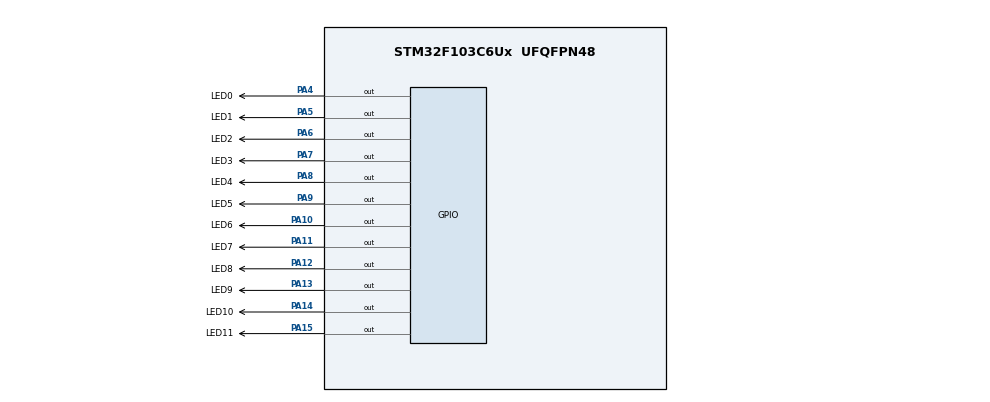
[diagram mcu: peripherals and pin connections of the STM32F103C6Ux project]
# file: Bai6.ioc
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Mcu.Family=STM32F1
Mcu.Name=STM32F103C6Ux
Mcu.Package=UFQFPN48
NVIC.PriorityGroup=NVIC_PRIORITYGROUP_4
PA10.GPIO_Label=LED6
PA10.Signal=GPIO_Output
PA11.GPIO_Label=LED7
PA11.Signal=GPIO_Output
PA12.GPIO_Label=LED8
PA12.Signal=GPIO_Output
PA13.GPIO_Label=LED9
PA13.Signal=GPIO_Output
PA14.GPIO_Label=LED10
PA14.Signal=GPIO_Output
PA15.GPIO_Label=LED11
PA15.Signal=GPIO_Output
PA4.GPIO_Label=LED0
PA4.Signal=GPIO_Output
PA5.GPIO_Label=LED1
PA5.Signal=GPIO_Output
PA6.GPIO_Label=LED2
PA6.Signal=GPIO_Output
PA7.GPIO_Label=LED3
PA7.Signal=GPIO_Output
PA8.GPIO_Label=LED4
PA8.Signal=GPIO_Output
PA9.GPIO_Label=LED5
PA9.Signal=GPIO_Output
ProjectManager.HeapSize=0x200
ProjectManager.StackSize=0x400
ProjectManager.TargetToolchain=STM32CubeIDE
RCC.APB1Freq_Value=8000000
RCC.APB2Freq_Value=8000000
VP_SYS_VS_ND.Mode=No_Debug
board=custom

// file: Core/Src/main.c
/* USER CODE BEGIN Header */
/**
 ******************************************************************************
 * @file           : main.c
 * @brief          : Main program body
 ******************************************************************************
 * @attention
 *
 * <h2><center>&copy; Copyright (c) 2022 STMicroelectronics.
 * All rights reserved.</center></h2>
 *
 * This software component is licensed by ST under BSD 3-Clause license,
 * the "License"; You may not use this file except in compliance with the
 * License. You may obtain a copy of the License at:
 *                        opensource.org/licenses/BSD-3-Clause
 *
 ******************************************************************************
 */
/* USER CODE END Header */
#include "main.h"

void SystemClock_Config(void);
static void MX_GPIO_Init(void);

int main(void) {

	/* MCU Configuration--------------------------------------------------------*/

	/* Reset of all peripherals, Initializes the Flash interface and the Systick. */
	HAL_Init();

	/* Configure the system clock */
	SystemClock_Config();

	/* Initialize all configured peripherals */
	MX_GPIO_Init();

	/* Infinite loop */
	/* USER CODE BEGIN WHILE */

	//Clock displays sequentially from 0 to 11
	int timeCounter = 0;
	while (1) {
		if (timeCounter == 0) {
			HAL_GPIO_WritePin(LED0_GPIO_Port, LED0_Pin, SET);
			HAL_GPIO_WritePin(LED1_GPIO_Port, LED1_Pin, RESET);
			HAL_GPIO_WritePin(LED2_GPIO_Port, LED2_Pin, RESET);
			HAL_GPIO_WritePin(LED3_GPIO_Port, LED3_Pin, RESET);
			HAL_GPIO_WritePin(LED4_GPIO_Port, LED4_Pin, RESET);
			HAL_GPIO_WritePin(LED5_GPIO_Port, LED5_Pin, RESET);
			HAL_GPIO_WritePin(LED6_GPIO_Port, LED6_Pin, RESET);
			HAL_GPIO_WritePin(LED7_GPIO_Port, LED7_Pin, RESET);
			HAL_GPIO_WritePin(LED8_GPIO_Port, LED8_Pin, RESET);
			HAL_GPIO_WritePin(LED9_GPIO_Port, LED9_Pin, RESET);
			HAL_GPIO_WritePin(LED10_GPIO_Port, LED10_Pin, RESET);
			HAL_GPIO_WritePin(LED11_GPIO_Port, LED11_Pin, RESET);
		}
		if (timeCounter == 1) {
			HAL_GPIO_WritePin(LED0_GPIO_Port, LED0_Pin, RESET);
			HAL_GPIO_WritePin(LED1_GPIO_Port, LED1_Pin, SET);
			HAL_GPIO_WritePin(LED2_GPIO_Port, LED2_Pin, RESET);
			HAL_GPIO_WritePin(LED3_GPIO_Port, LED3_Pin, RESET);
			HAL_GPIO_WritePin(LED4_GPIO_Port, LED4_Pin, RESET);
			HAL_GPIO_WritePin(LED5_GPIO_Port, LED5_Pin, RESET);
			HAL_GPIO_WritePin(LED6_GPIO_Port, LED6_Pin, RESET);
			HAL_GPIO_WritePin(LED7_GPIO_Port, LED7_Pin, RESET);
			HAL_GPIO_WritePin(LED8_GPIO_Port, LED8_Pin, RESET);
			HAL_GPIO_WritePin(LED9_GPIO_Port, LED9_Pin, RESET);
			HAL_GPIO_WritePin(LED10_GPIO_Port, LED10_Pin, RESET);
			HAL_GPIO_WritePin(LED11_GPIO_Port, LED11_Pin, RESET);
		}
		if (timeCounter == 2) {
			HAL_GPIO_WritePin(LED0_GPIO_Port, LED0_Pin, RESET);
			HAL_GPIO_WritePin(LED1_GPIO_Port, LED1_Pin, RESET);
			HAL_GPIO_WritePin(LED2_GPIO_Port, LED2_Pin, SET);
			HAL_GPIO_WritePin(LED3_GPIO_Port, LED3_Pin, RESET);
			HAL_GPIO_WritePin(LED4_GPIO_Port, LED4_Pin, RESET);
			HAL_GPIO_WritePin(LED5_GPIO_Port, LED5_Pin, RESET);
			HAL_GPIO_WritePin(LED6_GPIO_Port, LED6_Pin, RESET);
			HAL_GPIO_WritePin(LED7_GPIO_Port, LED7_Pin, RESET);
			HAL_GPIO_WritePin(LED8_GPIO_Port, LED8_Pin, RESET);
			HAL_GPIO_WritePin(LED9_GPIO_Port, LED9_Pin, RESET);
			HAL_GPIO_WritePin(LED10_GPIO_Port, LED10_Pin, RESET);
			HAL_GPIO_WritePin(LED11_GPIO_Port, LED11_Pin, RESET);
		}
		if (timeCounter == 3) {
			HAL_GPIO_WritePin(LED0_GPIO_Port, LED0_Pin, RESET);
			HAL_GPIO_WritePin(LED1_GPIO_Port, LED1_Pin, RESET);
			HAL_GPIO_WritePin(LED2_GPIO_Port, LED2_Pin, RESET);
			HAL_GPIO_WritePin(LED3_GPIO_Port, LED3_Pin, SET);
			HAL_GPIO_WritePin(LED4_GPIO_Port, LED4_Pin, RESET);
			HAL_GPIO_WritePin(LED5_GPIO_Port, LED5_Pin, RESET);
			HAL_GPIO_WritePin(LED6_GPIO_Port, LED6_Pin, RESET);
			HAL_GPIO_WritePin(LED7_GPIO_Port, LED7_Pin, RESET);
			HAL_GPIO_WritePin(LED8_GPIO_Port, LED8_Pin, RESET);
			HAL_GPIO_WritePin(LED9_GPIO_Port, LED9_Pin, RESET);
			HAL_GPIO_WritePin(LED10_GPIO_Port, LED10_Pin, RESET);
			HAL_GPIO_WritePin(LED11_GPIO_Port, LED11_Pin, RESET);
		}
		if (timeCounter == 4) {
			HAL_GPIO_WritePin(LED0_GPIO_Port, LED0_Pin, RESET);
			HAL_GPIO_WritePin(LED1_GPIO_Port, LED1_Pin, RESET);
			HAL_GPIO_WritePin(LED2_GPIO_Port, LED2_Pin, RESET);
			HAL_GPIO_WritePin(LED3_GPIO_Port, LED3_Pin, RESET);
			HAL_GPIO_WritePin(LED4_GPIO_Port, LED4_Pin, SET);
			HAL_GPIO_WritePin(LED5_GPIO_Port, LED5_Pin, RESET);
			HAL_GPIO_WritePin(LED6_GPIO_Port, LED6_Pin, RESET);
			HAL_GPIO_WritePin(LED7_GPIO_Port, LED7_Pin, RESET);
			HAL_GPIO_WritePin(LED8_GPIO_Port, LED8_Pin, RESET);
			HAL_GPIO_WritePin(LED9_GPIO_Port, LED9_Pin, RESET);
			HAL_GPIO_WritePin(LED10_GPIO_Port, LED10_Pin, RESET);
			HAL_GPIO_WritePin(LED11_GPIO_Port, LED11_Pin, RESET);
		}
		if (timeCounter == 5) {
			HAL_GPIO_WritePin(LED0_GPIO_Port, LED0_Pin, RESET);
			HAL_GPIO_WritePin(LED1_GPIO_Port, LED1_Pin, RESET);
			HAL_GPIO_WritePin(LED2_GPIO_Port, LED2_Pin, RESET);
			HAL_GPIO_WritePin(LED3_GPIO_Port, LED3_Pin, RESET);
			HAL_GPIO_WritePin(LED4_GPIO_Port, LED4_Pin, RESET);
			HAL_GPIO_WritePin(LED5_GPIO_Port, LED5_Pin, SET);
			HAL_GPIO_WritePin(LED6_GPIO_Port, LED6_Pin, RESET);
			HAL_GPIO_WritePin(LED7_GPIO_Port, LED7_Pin, RESET);
			HAL_GPIO_WritePin(LED8_GPIO_Port, LED8_Pin, RESET);
			HAL_GPIO_WritePin(LED9_GPIO_Port, LED9_Pin, RESET);
			HAL_GPIO_WritePin(LED10_GPIO_Port, LED10_Pin, RESET);
			HAL_GPIO_WritePin(LED11_GPIO_Port, LED11_Pin, RESET);
		}
		if (timeCounter == 6) {
			HAL_GPIO_WritePin(LED0_GPIO_Port, LED0_Pin, RESET);
			HAL_GPIO_WritePin(LED1_GPIO_Port, LED1_Pin, RESET);
			HAL_GPIO_WritePin(LED2_GPIO_Port, LED2_Pin, RESET);
			HAL_GPIO_WritePin(LED3_GPIO_Port, LED3_Pin, RESET);
			HAL_GPIO_WritePin(LED4_GPIO_Port, LED4_Pin, RESET);
			HAL_GPIO_WritePin(LED5_GPIO_Port, LED5_Pin, RESET);
			HAL_GPIO_WritePin(LED6_GPIO_Port, LED6_Pin, SET);
			HAL_GPIO_WritePin(LED7_GPIO_Port, LED7_Pin, RESET);
			HAL_GPIO_WritePin(LED8_GPIO_Port, LED8_Pin, RESET);
			HAL_GPIO_WritePin(LED9_GPIO_Port, LED9_Pin, RESET);
			HAL_GPIO_WritePin(LED10_GPIO_Port, LED10_Pin, RESET);
			HAL_GPIO_WritePin(LED11_GPIO_Port, LED11_Pin, RESET);
		}
		if (timeCounter == 7) {
			HAL_GPIO_WritePin(LED0_GPIO_Port, LED0_Pin, RESET);
			HAL_GPIO_WritePin(LED1_GPIO_Port, LED1_Pin, RESET);
			HAL_GPIO_WritePin(LED2_GPIO_Port, LED2_Pin, RESET);
			HAL_GPIO_WritePin(LED3_GPIO_Port, LED3_Pin, RESET);
			HAL_GPIO_WritePin(LED4_GPIO_Port, LED4_Pin, RESET);
			HAL_GPIO_WritePin(LED5_GPIO_Port, LED5_Pin, RESET);
			HAL_GPIO_WritePin(LED6_GPIO_Port, LED6_Pin, RESET);
			HAL_GPIO_WritePin(LED7_GPIO_Port, LED7_Pin, SET);
			HAL_GPIO_WritePin(LED8_GPIO_Port, LED8_Pin, RESET);
			HAL_GPIO_WritePin(LED9_GPIO_Port, LED9_Pin, RESET);
			HAL_GPIO_WritePin(LED10_GPIO_Port, LED10_Pin, RESET);
			HAL_GPIO_WritePin(LED11_GPIO_Port, LED11_Pin, RESET);
		}
		if (timeCounter == 8) {
			HAL_GPIO_WritePin(LED0_GPIO_Port, LED0_Pin, RESET);
			HAL_GPIO_WritePin(LED1_GPIO_Port, LED1_Pin, RESET);
			HAL_GPIO_WritePin(LED2_GPIO_Port, LED2_Pin, RESET);
			HAL_GPIO_WritePin(LED3_GPIO_Port, LED3_Pin, RESET);
			HAL_GPIO_WritePin(LED4_GPIO_Port, LED4_Pin, RESET);
			HAL_GPIO_WritePin(LED5_GPIO_Port, LED5_Pin, RESET);
			HAL_GPIO_WritePin(LED6_GPIO_Port, LED6_Pin, RESET);
			HAL_GPIO_WritePin(LED7_GPIO_Port, LED7_Pin, RESET);
			HAL_GPIO_WritePin(LED8_GPIO_Port, LED8_Pin, SET);
			HAL_GPIO_WritePin(LED9_GPIO_Port, LED9_Pin, RESET);
			HAL_GPIO_WritePin(LED10_GPIO_Port, LED10_Pin, RESET);
			HAL_GPIO_WritePin(LED11_GPIO_Port, LED11_Pin, RESET);
		}
		if (timeCounter == 9) {
			HAL_GPIO_WritePin(LED0_GPIO_Port, LED0_Pin, RESET);
			HAL_GPIO_WritePin(LED1_GPIO_Port, LED1_Pin, RESET);
			HAL_GPIO_WritePin(LED2_GPIO_Port, LED2_Pin, RESET);
			HAL_GPIO_WritePin(LED3_GPIO_Port, LED3_Pin, RESET);
			HAL_GPIO_WritePin(LED4_GPIO_Port, LED4_Pin, RESET);
			HAL_GPIO_WritePin(LED5_GPIO_Port, LED5_Pin, RESET);
			HAL_GPIO_WritePin(LED6_GPIO_Port, LED6_Pin, RESET);
			HAL_GPIO_WritePin(LED7_GPIO_Port, LED7_Pin, RESET);
			HAL_GPIO_WritePin(LED8_GPIO_Port, LED8_Pin, RESET);
			HAL_GPIO_WritePin(LED9_GPIO_Port, LED9_Pin, SET);
			HAL_GPIO_WritePin(LED10_GPIO_Port, LED10_Pin, RESET);
			HAL_GPIO_WritePin(LED11_GPIO_Port, LED11_Pin, RESET);
		}
		if (timeCounter == 10) {
			HAL_GPIO_WritePin(LED0_GPIO_Port, LED0_Pin, RESET);
			HAL_GPIO_WritePin(LED1_GPIO_Port, LED1_Pin, RESET);
			HAL_GPIO_WritePin(LED2_GPIO_Port, LED2_Pin, RESET);
			HAL_GPIO_WritePin(LED3_GPIO_Port, LED3_Pin, RESET);
			HAL_GPIO_WritePin(LED4_GPIO_Port, LED4_Pin, RESET);
			HAL_GPIO_WritePin(LED5_GPIO_Port, LED5_Pin, RESET);
			HAL_GPIO_WritePin(LED6_GPIO_Port, LED6_Pin, RESET);
			HAL_GPIO_WritePin(LED7_GPIO_Port, LED7_Pin, RESET);
			HAL_GPIO_WritePin(LED8_GPIO_Port, LED8_Pin, RESET);
			HAL_GPIO_WritePin(LED9_GPIO_Port, LED9_Pin, RESET);
			HAL_GPIO_WritePin(LED10_GPIO_Port, LED10_Pin, SET);
			HAL_GPIO_WritePin(LED11_GPIO_Port, LED11_Pin, RESET);
		}
		if (timeCounter == 11) {
			HAL_GPIO_WritePin(LED0_GPIO_Port, LED0_Pin, RESET);
			HAL_GPIO_WritePin(LED1_GPIO_Port, LED1_Pin, RESET);
			HAL_GPIO_WritePin(LED2_GPIO_Port, LED2_Pin, RESET);
			HAL_GPIO_WritePin(LED3_GPIO_Port, LED3_Pin, RESET);
			HAL_GPIO_WritePin(LED4_GPIO_Port, LED4_Pin, RESET);
			HAL_GPIO_WritePin(LED5_GPIO_Port, LED5_Pin, RESET);
			HAL_GPIO_WritePin(LED6_GPIO_Port, LED6_Pin, RESET);
			HAL_GPIO_WritePin(LED7_GPIO_Port, LED7_Pin, RESET);
			HAL_GPIO_WritePin(LED8_GPIO_Port, LED8_Pin, RESET);
			HAL_GPIO_WritePin(LED9_GPIO_Port, LED9_Pin, RESET);
			HAL_GPIO_WritePin(LED10_GPIO_Port, LED10_Pin, RESET);
			HAL_GPIO_WritePin(LED11_GPIO_Port, LED11_Pin, SET);
			timeCounter = -1;
		}
		timeCounter++;
		HAL_Delay(1000);

		/* USER CODE END WHILE */

	}
}

void SystemClock_Config(void) {
	RCC_OscInitTypeDef RCC_OscInitStruct = { 0 };
	RCC_ClkInitTypeDef RCC_ClkInitStruct = { 0 };

	/** Initializes the RCC Oscillators according to the specified parameters
	 * in the RCC_OscInitTypeDef structure.
	 */
	RCC_OscInitStruct.OscillatorType = RCC_OSCILLATORTYPE_HSI;
	RCC_OscInitStruct.HSIState = RCC_HSI_ON;
	RCC_OscInitStruct.HSICalibrationValue = RCC_HSICALIBRATION_DEFAULT;
	RCC_OscInitStruct.PLL.PLLState = RCC_PLL_NONE;
	if (HAL_RCC_OscConfig(&RCC_OscInitStruct) != HAL_OK) {
		Error_Handler();
	}
	/** Initializes the CPU, AHB and APB buses clocks
	 */
	RCC_ClkInitStruct.ClockType = RCC_CLOCKTYPE_HCLK | RCC_CLOCKTYPE_SYSCLK
			| RCC_CLOCKTYPE_PCLK1 | RCC_CLOCKTYPE_PCLK2;
	RCC_ClkInitStruct.SYSCLKSource = RCC_SYSCLKSOURCE_HSI;
	RCC_ClkInitStruct.AHBCLKDivider = RCC_SYSCLK_DIV1;
	RCC_ClkInitStruct.APB1CLKDivider = RCC_HCLK_DIV1;
	RCC_ClkInitStruct.APB2CLKDivider = RCC_HCLK_DIV1;

	if (HAL_RCC_ClockConfig(&RCC_ClkInitStruct, FLASH_LATENCY_0) != HAL_OK) {
		Error_Handler();
	}
}

static void MX_GPIO_Init(void) {
	GPIO_InitTypeDef GPIO_InitStruct = { 0 };

	/* GPIO Ports Clock Enable */
	__HAL_RCC_GPIOA_CLK_ENABLE();

	/*Configure GPIO pin Output Level */
	HAL_GPIO_WritePin(GPIOA,
			LED0_Pin | LED1_Pin | LED2_Pin | LED3_Pin | LED4_Pin | LED5_Pin
					| LED6_Pin | LED7_Pin | LED8_Pin | LED9_Pin | LED10_Pin
					| LED11_Pin, GPIO_PIN_RESET);

	/*Configure GPIO pins : LED0_Pin LED1_Pin LED2_Pin LED3_Pin
	 LED4_Pin LED5_Pin LED6_Pin LED7_Pin
	 LED8_Pin LED9_Pin LED10_Pin LED11_Pin */
	GPIO_InitStruct.Pin = LED0_Pin | LED1_Pin | LED2_Pin | LED3_Pin | LED4_Pin
			| LED5_Pin | LED6_Pin | LED7_Pin | LED8_Pin | LED9_Pin | LED10_Pin
			| LED11_Pin;
	GPIO_InitStruct.Mode = GPIO_MODE_OUTPUT_PP;
	GPIO_InitStruct.Pull = GPIO_NOPULL;
	GPIO_InitStruct.Speed = GPIO_SPEED_FREQ_LOW;
	HAL_GPIO_Init(GPIOA, &GPIO_InitStruct);

}

void Error_Handler(void) {
	__disable_irq();
	while (1) {
	}
}

/************************ (C) COPYRIGHT STMicroelectronics *****END OF FILE****/
